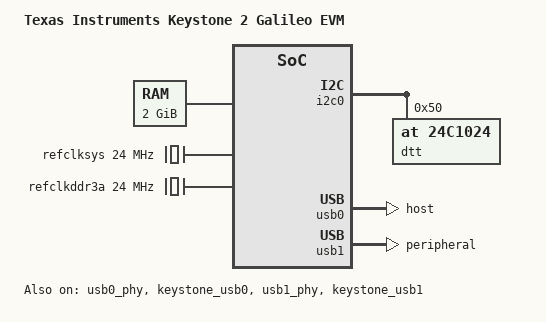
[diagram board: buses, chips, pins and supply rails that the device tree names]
/*
 * Copyright 2014 Texas Instruments, Inc.
 *
 * Keystone 2 Galileo EVM device tree
 *
 * This program is free software; you can redistribute it and/or modify
 * it under the terms of the GNU General Public License version 2 as
 * published by the Free Software Foundation.
 */
/dts-v1/;

#include "k2g.dtsi"

/ {
	compatible =  "ti,k2g-evm","ti,keystone";
	model = "Texas Instruments Keystone 2 Galileo EVM";

	aliases {
		serial0	= &uart0;
/*		gpio0   = &gpio0; */
	};

	memory {
		device_type = "memory";
		reg = <0x00000008 0x00000000 0x00000000 0x80000000>;
	};

	soc {
		clocks {
			refclksys: refclksys {
				#clock-cells = <0>;
				compatible = "fixed-clock";
				clock-frequency = <24000000>;
				clock-output-names = "refclk-sys";
			};

			refclkddr3a: refclkddr3a {
				#clock-cells = <0>;
				compatible = "fixed-clock";
				clock-frequency = <24000000>;
				clock-output-names = "refclk-ddr3a";
			};
		};
	};

};

&k2g_pinctrl {

	i2c0_pins: pinmux_i2c0_pins {
		pinctrl-single,pins = <
			0x37c	(MUX_MODE0)	/* i2c0_scl */
			0x380	(MUX_MODE0)	/* i2c0_sda */
		>;
	};

	mmc0_pins: pinmux_mmc0_pins {
		pinctrl-single,pins = <
			0x300	(MUX_MODE2)	/* mmc0_dat3 */
			0x304	(MUX_MODE2)	/* mmc0_dat2 */
			0x308	(MUX_MODE2)	/* mmc0_dat1 */
			0x30c	(MUX_MODE2)	/* mmc0_dat0 */
			0x310	(MUX_MODE2)	/* mmc0_clk */
			0x314	(MUX_MODE2)	/* mmc0_cmd */
			0x2ec	(MUX_MODE2)	/* mmc0_sdcd */
		>;
	};

	uart0_pins: pinmux_uart0_pins {
		pinctrl-single,pins = <
			0x1cc (MUX_MODE0)	/* uart0_rxd */
			0x1d0 (MUX_MODE0)	/* uart0_txd */
			0x1d4 (MUX_MODE0)	/* uart0_ctsn */
			0x1d8 (MUX_MODE0)	/* uart0_rtsn */
		>;
	};
};

&i2c0 {
	pinctrl-names = "default";
	pinctrl-0 = <&i2c0_pins>;

	dtt@50 {
		compatible = "at,24c1024";
		reg = <0x50>;
	};
};

&usb0_phy {
	status = "okay";
};

&keystone_usb0 {
	status = "okay";
};

&usb0 {
	dr_mode = "host";
};

&usb1_phy {
	status = "okay";
};

&keystone_usb1 {
	status = "okay";
};

&usb1 {
	dr_mode = "peripheral";	/* should be otg/dual-role */
};

&mmc0 {
	pinctrl-names = "default";
	pinctrl-0 = <&mmc0_pins>;
};

&uart0 {
	pinctrl-names = "default";
	pinctrl-0 = <&uart0_pins>;
};
